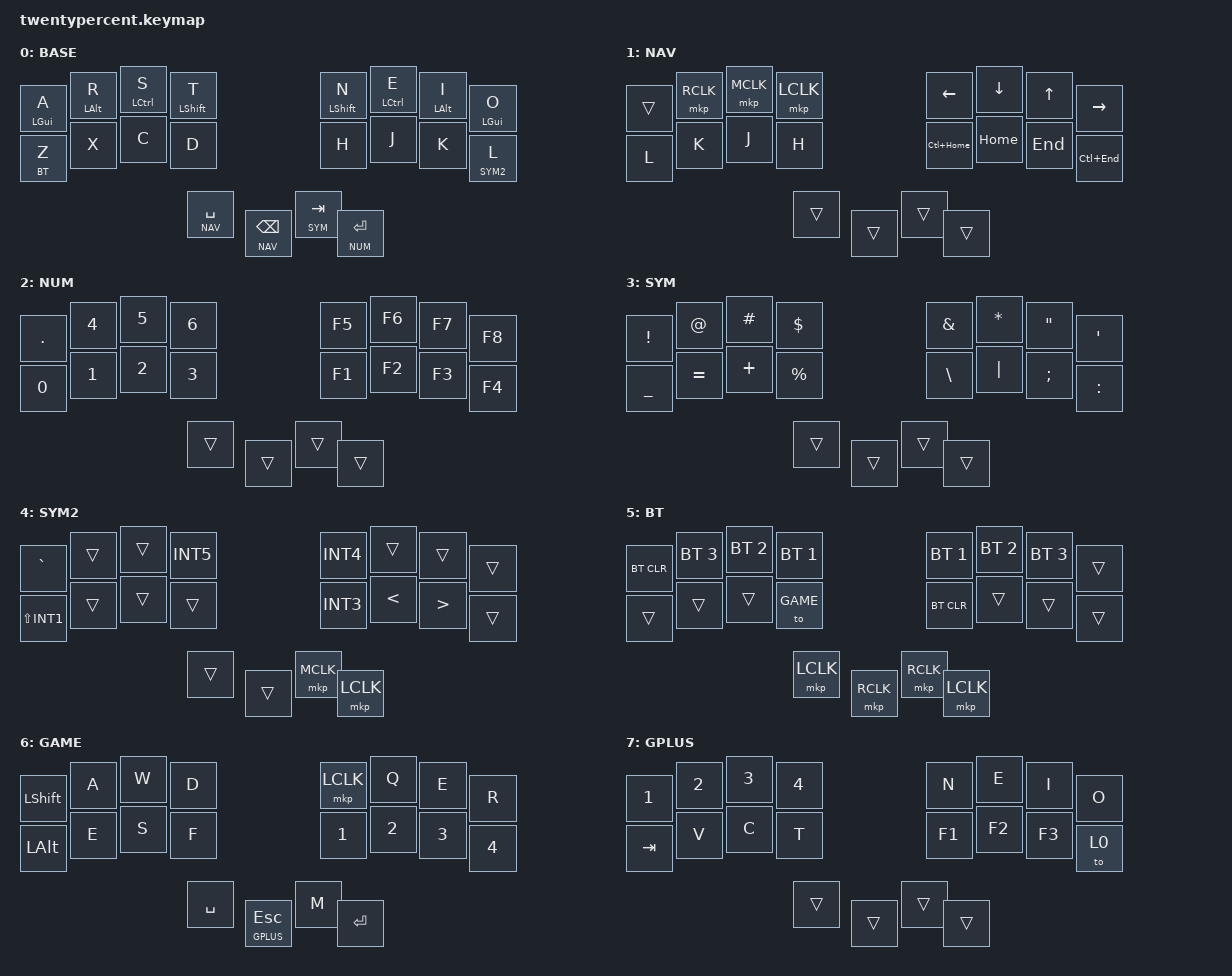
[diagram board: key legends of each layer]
#include <dt-bindings/zmk/mouse.h>
#include <behaviors/mouse_keys.dtsi>
#include <behaviors.dtsi>
#include <dt-bindings/zmk/bt.h>
#include <dt-bindings/zmk/keys.h>
#include <dt-bindings/zmk/outputs.h>
#include <dt-bindings/zmk/pointing.h>

/ {
  chosen { zmk,physical-layout = &twentypercent_layout; };
};

#define COMBO(NAME, LAYER, TIMEOUT, KEYPOS) \
    combo_##NAME { \
        layers = <LAYER>; \
        timeout-ms = <TIMEOUT>; \
        key-positions = <KEYPOS>; \
        bindings = <&kp NAME>; \
    };

&lt {
    flavor = "tap-preferred";
    tapping-term-ms = <200>;
    quick-tap-ms = <0>;
};
&sl {
  release-after-ms = <2000>;
};

/ {
    behaviors {
        hm: homerow_mods {
            compatible = "zmk,behavior-hold-tap";
            label = "homerow_mods";
            #binding-cells = <2>;
            tapping-term-ms = <240>;
            quick_tap_ms = <0>;
            flavor = "tap-preferred";
            bindings = <&kp>, <&kp>;
        };
    };
    
     macros {
             meh: meh {
         	    label = "meh";
         	    compatible = "zmk,behavior-macro";
         	    #binding-cells = <0>;
         	    bindings
         	    	= <&macro_press   &sk LS(LC(LALT))>
         		, <&macro_pause_for_release>
         		, <&macro_release &sk LS(LC(LALT))>
         		;
             };
             
             hyper: hyper {
         	    label = "hyper";
         	    compatible = "zmk,behavior-macro";
         	    #binding-cells = <0>;
         	    bindings
         	    	= <&macro_press   &sk LS(LA(LC(LGUI)))>
         		, <&macro_pause_for_release>
         		, <&macro_release &sk LS(LA(LC(LGUI)))>
         		;
             };
     };

  keymap {
    compatible = "zmk,keymap";
    // ╭─────────────┬─────────────┬─────────────┬─────────────╮   ╭─────────────┬─────────────┬─────────────┬─────────────┐
    //    0             1             2             3                 4             5             6             7
    // ├─────────────┼─────────────┼─────────────┼─────────────┤   ├─────────────┼─────────────┼─────────────┼─────────────┤
    //    8             9            10            11                12            13            14            15
    // ├─────────────┼─────────────┼─────────────┼─────────────┤   ├─────────────┼─────────────┼─────────────┼─────────────┤
    //                             ╭─────────────┬─────────────╮   ╭─────────────┬─────────────╮
    //                               16            17                18            19
    //                             ╰─────────────┴─────────────╯   ╰─────────────┴─────────────╯


    base_layer {
      display-name = "BASE";
      bindings = <

      // ╭─────────────────┬─────────────────┬─────────────────┬─────────────────╮ ╭─────────────┬─────────────────┬─────────────────┬─────────────────┐
          &hm LGUI A        &hm LALT R        &hm LCTRL S       &hm LSHIFT T        &hm LSHIFT N  &hm LCTRL E       &hm LALT I        &hm LGUI O
      // ├─────────────────┼─────────────────┼─────────────────┼─────────────────┤ ├─────────────┼─────────────────┼─────────────────┼─────────────────┤
          &lt BT Z          &kp X             &kp C             &kp D               &kp H         &kp J             &kp K             &lt SYM2 L
      // ├─────────────────┼─────────────────┼─────────────────┼─────────────────┤ ├─────────────┼─────────────────┼─────────────────┼─────────────────┤
      //                   ╭──────────────────────────┬──────────────────────────╮ ╭──────────────────────────┬──────────────────────────╮
                            &lt NAV SPACE              &lt NAV BACKSPACE            &lt SYM TAB                &lt NUM ENTER
      //                   ╰──────────────────────────┴──────────────────────────╯ ╰──────────────────────────┴──────────────────────────╯
      >;
    };
    nav_layer {
      display-name = "NAV";
      bindings = <

      // ╭─────────────────┬─────────────────┬─────────────────┬─────────────────╮ ╭─────────────┬─────────────────┬─────────────────┬─────────────────┐
          &trans            &mkp RCLK         &mkp MCLK         &mkp LCLK           &kp LEFT      &kp DOWN          &kp UP            &kp RIGHT
      // ├─────────────────┼─────────────────┼─────────────────┼─────────────────┤ ├─────────────┼─────────────────┼─────────────────┼─────────────────┤
          &kp L             &kp K             &kp J             &kp H               &kp LC(HOME)  &kp HOME          &kp END           &kp LC(END)
      // ├─────────────────┼─────────────────┼─────────────────┼─────────────────┤ ├─────────────┼─────────────────┼─────────────────┼─────────────────┤
      //                   ╭──────────────────────────┬──────────────────────────╮ ╭──────────────────────────┬──────────────────────────╮
                            &trans                     &trans                       &trans                     &trans
      //                   ╰──────────────────────────┴──────────────────────────╯ ╰──────────────────────────┴──────────────────────────╯
      >;
    };
    num_layer {
      display-name = "NUM";
      bindings = <

      // ╭─────────────────┬─────────────────┬─────────────────┬─────────────────╮ ╭─────────────┬─────────────────┬─────────────────┬─────────────────┐
          &kp DOT           &kp N4            &kp N5            &kp N6              &kp F5        &kp F6            &kp F7            &kp F8
      // ├─────────────────┼─────────────────┼─────────────────┼─────────────────┤ ├─────────────┼─────────────────┼─────────────────┼─────────────────┤
          &kp N0            &kp N1            &kp N2            &kp N3              &kp F1        &kp F2            &kp F3            &kp F4
      // ├─────────────────┼─────────────────┼─────────────────┼─────────────────┤ ├─────────────┼─────────────────┼─────────────────┼─────────────────┤
      //                   ╭──────────────────────────┬──────────────────────────╮ ╭──────────────────────────┬──────────────────────────╮
                            &trans                     &trans                       &trans                     &trans
      //                   ╰──────────────────────────┴──────────────────────────╯ ╰──────────────────────────┴──────────────────────────╯
      >;
    };
    sym_layer {
      display-name = "SYM";
      bindings = <

      // ╭─────────────────┬─────────────────┬─────────────────┬─────────────────╮ ╭─────────────┬─────────────────┬─────────────────┬─────────────────┐
          &kp EXCL          &kp AT            &kp HASH          &kp DLLR            &kp AMPS      &kp STAR          &kp DQT           &kp SQT
      // ├─────────────────┼─────────────────┼─────────────────┼─────────────────┤ ├─────────────┼─────────────────┼─────────────────┼─────────────────┤
          &kp UNDER         &kp EQUAL         &kp PLUS          &kp PRCNT           &kp BSLH      &kp PIPE          &kp SEMI          &kp COLON
      // ├─────────────────┼─────────────────┼─────────────────┼─────────────────┤ ├─────────────┼─────────────────┼─────────────────┼─────────────────┤
      //                   ╭──────────────────────────┬──────────────────────────╮ ╭──────────────────────────┬──────────────────────────╮
                            &trans                     &trans                       &trans                     &trans
      //                   ╰──────────────────────────┴──────────────────────────╯ ╰──────────────────────────┴──────────────────────────╯
      >;
    };
    sym2_layer {
      display-name = "SYM2";
      bindings = <

      // ╭─────────────────┬─────────────────┬─────────────────┬─────────────────╮ ╭─────────────┬─────────────────┬─────────────────┬─────────────────┐
          &kp GRAVE         &trans            &trans            &kp INT5            &kp INT4      &trans            &trans            &trans
      // ├─────────────────┼─────────────────┼─────────────────┼─────────────────┤ ├─────────────┼─────────────────┼─────────────────┼─────────────────┤
          &kp LS(INT1)      &trans            &trans            &trans              &kp INT3      &kp LESS_THAN     &kp GREATER_THAN  &trans
      // ├─────────────────┼─────────────────┼─────────────────┼─────────────────┤ ├─────────────┼─────────────────┼─────────────────┼─────────────────┤
      //                   ╭──────────────────────────┬──────────────────────────╮ ╭──────────────────────────┬──────────────────────────╮
                            &trans                     &trans                       &mkp MCLK                  &mkp LCLK
      //                   ╰──────────────────────────┴──────────────────────────╯ ╰──────────────────────────┴──────────────────────────╯
      >;
    };
    bt_layer {
      display-name = "BT";
      bindings = <

      // ╭─────────────────┬─────────────────┬─────────────────┬─────────────────╮ ╭─────────────┬─────────────────┬─────────────────┬─────────────────┐
          &bt BT_CLR        &bt BT_SEL 3      &bt BT_SEL 2      &bt BT_SEL 1        &bt BT_SEL 1  &bt BT_SEL 2      &bt BT_SEL 3      &trans
      // ├─────────────────┼─────────────────┼─────────────────┼─────────────────┤ ├─────────────┼─────────────────┼─────────────────┼─────────────────┤
          &trans            &trans            &trans            &to GAME            &bt BT_CLR    &trans            &trans            &trans
      // ├─────────────────┼─────────────────┼─────────────────┼─────────────────┤ ├─────────────┼─────────────────┼─────────────────┼─────────────────┤
      //                   ╭──────────────────────────┬──────────────────────────╮ ╭──────────────────────────┬──────────────────────────╮
                            &mkp LCLK                  &mkp RCLK                    &mkp RCLK                  &mkp LCLK
      //                   ╰──────────────────────────┴──────────────────────────╯ ╰──────────────────────────┴──────────────────────────╯
      >;
    };
    game_layer {
      display-name = "GAME";
      bindings = <

      // ╭─────────────────┬─────────────────┬─────────────────┬─────────────────╮ ╭─────────────┬─────────────────┬─────────────────┬─────────────────┐
          &kp LSHFT         &kp A             &kp W             &kp D               &mkp LCLK     &kp Q             &kp E             &kp R
      // ├─────────────────┼─────────────────┼─────────────────┼─────────────────┤ ├─────────────┼─────────────────┼─────────────────┼─────────────────┤
          &kp LALT          &kp E             &kp S             &kp F               &kp N1        &kp N2            &kp N3            &kp N4
      // ├─────────────────┼─────────────────┼─────────────────┼─────────────────┤ ├─────────────┼─────────────────┼─────────────────┼─────────────────┤
      //                   ╭──────────────────────────┬──────────────────────────╮ ╭──────────────────────────┬──────────────────────────╮
                            &kp SPACE                  &lt GPLUS ESC                &kp M                      &kp ENTER
      //                   ╰──────────────────────────┴──────────────────────────╯ ╰──────────────────────────┴──────────────────────────╯
      >;
    };
    gplus_layer {
      display-name = "GPLUS";
      bindings = <

      // ╭─────────────────┬─────────────────┬─────────────────┬─────────────────╮ ╭─────────────┬─────────────────┬─────────────────┬─────────────────┐
          &kp N1            &kp N2            &kp N3            &kp N4              &kp N         &kp E             &kp I             &kp O
      // ├─────────────────┼─────────────────┼─────────────────┼─────────────────┤ ├─────────────┼─────────────────┼─────────────────┼─────────────────┤
          &kp TAB           &kp V             &kp C             &kp T               &kp F1        &kp F2            &kp F3            &to 0
      // ├─────────────────┼─────────────────┼─────────────────┼─────────────────┤ ├─────────────┼─────────────────┼─────────────────┼─────────────────┤
      //                   ╭──────────────────────────┬──────────────────────────╮ ╭──────────────────────────┬──────────────────────────╮
                            &trans                     &trans                       &trans                     &trans
      //                   ╰──────────────────────────┴──────────────────────────╯ ╰──────────────────────────┴──────────────────────────╯
      >;
    };
  };
};
